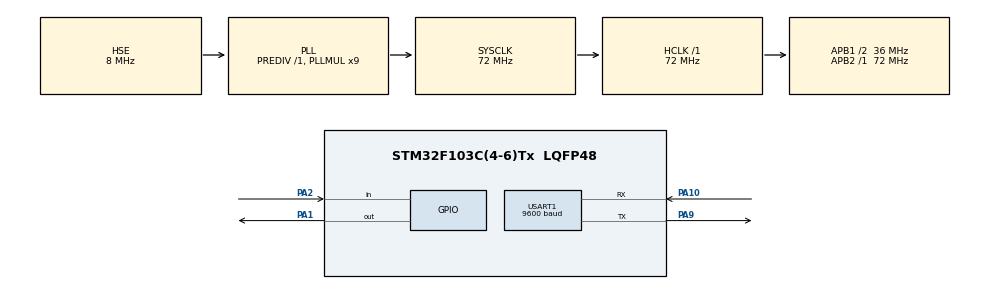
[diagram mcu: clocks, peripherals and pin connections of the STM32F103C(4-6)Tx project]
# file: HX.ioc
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Mcu.Family=STM32F1
Mcu.Name=STM32F103C(4-6)Tx
Mcu.Package=LQFP48
NVIC.PriorityGroup=NVIC_PRIORITYGROUP_4
PA1.Signal=GPIO_Output
PA10.Mode=Asynchronous
PA10.Signal=USART1_RX
PA2.Signal=GPIO_Input
PA9.Mode=Asynchronous
PA9.Signal=USART1_TX
PD0-OSC_IN.Mode=HSE-External-Oscillator
PD0-OSC_IN.Signal=RCC_OSC_IN
PD1-OSC_OUT.Mode=HSE-External-Oscillator
PD1-OSC_OUT.Signal=RCC_OSC_OUT
ProjectManager.HeapSize=0x200
ProjectManager.StackSize=0x400
ProjectManager.TargetToolchain=STM32CubeIDE
RCC.AHBFreq_Value=72000000
RCC.APB1CLKDivider=RCC_HCLK_DIV2
RCC.APB1Freq_Value=36000000
RCC.APB1TimFreq_Value=72000000
RCC.APB2Freq_Value=72000000
RCC.APB2TimFreq_Value=72000000
RCC.HCLKFreq_Value=72000000
RCC.PLLMUL=RCC_PLL_MUL9
RCC.PLLSourceVirtual=RCC_PLLSOURCE_HSE
RCC.SYSCLKFreq_VALUE=72000000
RCC.SYSCLKSource=RCC_SYSCLKSOURCE_PLLCLK
RCC.USBFreq_Value=72000000
USART1.BaudRate=9600
USART1.VirtualMode=VM_ASYNC
VP_SYS_VS_ND.Mode=No_Debug
VP_TIM1_VS_ClockSourceINT.Mode=Internal
board=custom

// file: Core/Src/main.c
/* USER CODE BEGIN Header */
/**
  ******************************************************************************
  * @file           : main.c
  * @brief          : Main program body
  ******************************************************************************
  * @attention
  *
  * Copyright (c) 2024 STMicroelectronics.
  * All rights reserved.
  *
  * This software is licensed under terms that can be found in the LICENSE file
  * in the root directory of this software component.
  * If no LICENSE file comes with this software, it is provided AS-IS.
  *
  ******************************************************************************
  */
/* USER CODE END Header */
#include "main.h"

/* USER CODE BEGIN Includes */
#include "hx711.h"
#include <stdio.h>
#include <string.h>

/* USER CODE END Includes */

TIM_HandleTypeDef htim1;

UART_HandleTypeDef huart1;

/* USER CODE BEGIN PV */
hx711_t loadcell;
float weight;
char MSG[50];
char MSG1[] = "HX711 scale demo \n\r";
char MSG2[] = "Reset scale to 0 assuming no weight at startup.\n\r";
/* USER CODE END PV */

void SystemClock_Config(void);
static void MX_GPIO_Init(void);
static void MX_TIM1_Init(void);
static void MX_USART1_UART_Init(void);

int main(void)
{

  /* MCU Configuration--------------------------------------------------------*/

  /* Reset of all peripherals, Initializes the Flash interface and the Systick. */
  HAL_Init();

  /* Configure the system clock */
  SystemClock_Config();

  /* Initialize all configured peripherals */
  MX_GPIO_Init();
  MX_TIM1_Init();
  MX_USART1_UART_Init();
  /* USER CODE BEGIN 2 */
  HAL_UART_Transmit(&huart1, (uint8_t*)MSG1, strlen(MSG1), 100);
  HAL_UART_Transmit(&huart1, (uint8_t*)MSG2, strlen(MSG2), 100);

  hx711_init(&loadcell, GPIOA, GPIO_PIN_1, GPIOA, GPIO_PIN_2);
  hx711_coef_set(&loadcell, 36057.14); // read afer calibration  36057.14
  hx711_tare(&loadcell, 10);
  /* USER CODE END 2 */

  /* Infinite loop */
  while (1)
  {

    /* USER CODE BEGIN 3 */

    HAL_Delay(500);
    weight = hx711_weight(&loadcell, 10);
    HAL_Delay(10);

    sprintf(MSG,"\n\rhx711_weight = %.2f Kg\n\r",weight);
    HAL_UART_Transmit(&huart1,(uint8_t*)MSG, strlen(MSG), 100);

  }
  /* USER CODE END 3 */
}

void SystemClock_Config(void)
{
  RCC_OscInitTypeDef RCC_OscInitStruct = {0};
  RCC_ClkInitTypeDef RCC_ClkInitStruct = {0};

  /** Initializes the RCC Oscillators according to the specified parameters
  * in the RCC_OscInitTypeDef structure.
  */
  RCC_OscInitStruct.OscillatorType = RCC_OSCILLATORTYPE_HSE;
  RCC_OscInitStruct.HSEState = RCC_HSE_ON;
  RCC_OscInitStruct.HSEPredivValue = RCC_HSE_PREDIV_DIV1;
  RCC_OscInitStruct.HSIState = RCC_HSI_ON;
  RCC_OscInitStruct.PLL.PLLState = RCC_PLL_ON;
  RCC_OscInitStruct.PLL.PLLSource = RCC_PLLSOURCE_HSE;
  RCC_OscInitStruct.PLL.PLLMUL = RCC_PLL_MUL9;
  if (HAL_RCC_OscConfig(&RCC_OscInitStruct) != HAL_OK)
  {
    Error_Handler();
  }

  /** Initializes the CPU, AHB and APB buses clocks
  */
  RCC_ClkInitStruct.ClockType = RCC_CLOCKTYPE_HCLK|RCC_CLOCKTYPE_SYSCLK
                              |RCC_CLOCKTYPE_PCLK1|RCC_CLOCKTYPE_PCLK2;
  RCC_ClkInitStruct.SYSCLKSource = RCC_SYSCLKSOURCE_PLLCLK;
  RCC_ClkInitStruct.AHBCLKDivider = RCC_SYSCLK_DIV1;
  RCC_ClkInitStruct.APB1CLKDivider = RCC_HCLK_DIV2;
  RCC_ClkInitStruct.APB2CLKDivider = RCC_HCLK_DIV1;

  if (HAL_RCC_ClockConfig(&RCC_ClkInitStruct, FLASH_LATENCY_2) != HAL_OK)
  {
    Error_Handler();
  }
}

static void MX_TIM1_Init(void)
{

  TIM_ClockConfigTypeDef sClockSourceConfig = {0};
  TIM_MasterConfigTypeDef sMasterConfig = {0};

  htim1.Instance = TIM1;
  htim1.Init.Prescaler = 0;
  htim1.Init.CounterMode = TIM_COUNTERMODE_UP;
  htim1.Init.Period = 65535;
  htim1.Init.ClockDivision = TIM_CLOCKDIVISION_DIV1;
  htim1.Init.RepetitionCounter = 0;
  htim1.Init.AutoReloadPreload = TIM_AUTORELOAD_PRELOAD_DISABLE;
  if (HAL_TIM_Base_Init(&htim1) != HAL_OK)
  {
    Error_Handler();
  }
  sClockSourceConfig.ClockSource = TIM_CLOCKSOURCE_INTERNAL;
  if (HAL_TIM_ConfigClockSource(&htim1, &sClockSourceConfig) != HAL_OK)
  {
    Error_Handler();
  }
  sMasterConfig.MasterOutputTrigger = TIM_TRGO_RESET;
  sMasterConfig.MasterSlaveMode = TIM_MASTERSLAVEMODE_DISABLE;
  if (HAL_TIMEx_MasterConfigSynchronization(&htim1, &sMasterConfig) != HAL_OK)
  {
    Error_Handler();
  }

}

static void MX_USART1_UART_Init(void)
{

  huart1.Instance = USART1;
  huart1.Init.BaudRate = 9600;
  huart1.Init.WordLength = UART_WORDLENGTH_8B;
  huart1.Init.StopBits = UART_STOPBITS_1;
  huart1.Init.Parity = UART_PARITY_NONE;
  huart1.Init.Mode = UART_MODE_TX_RX;
  huart1.Init.HwFlowCtl = UART_HWCONTROL_NONE;
  huart1.Init.OverSampling = UART_OVERSAMPLING_16;
  if (HAL_UART_Init(&huart1) != HAL_OK)
  {
    Error_Handler();
  }

}

static void MX_GPIO_Init(void)
{
  GPIO_InitTypeDef GPIO_InitStruct = {0};

  /* GPIO Ports Clock Enable */
  __HAL_RCC_GPIOD_CLK_ENABLE();
  __HAL_RCC_GPIOA_CLK_ENABLE();

  /*Configure GPIO pin Output Level */
  HAL_GPIO_WritePin(GPIOA, GPIO_PIN_1, GPIO_PIN_RESET);

  /*Configure GPIO pin : PA1 */
  GPIO_InitStruct.Pin = GPIO_PIN_1;
  GPIO_InitStruct.Mode = GPIO_MODE_OUTPUT_PP;
  GPIO_InitStruct.Pull = GPIO_NOPULL;
  GPIO_InitStruct.Speed = GPIO_SPEED_FREQ_LOW;
  HAL_GPIO_Init(GPIOA, &GPIO_InitStruct);

  /*Configure GPIO pin : PA2 */
  GPIO_InitStruct.Pin = GPIO_PIN_2;
  GPIO_InitStruct.Mode = GPIO_MODE_INPUT;
  GPIO_InitStruct.Pull = GPIO_NOPULL;
  HAL_GPIO_Init(GPIOA, &GPIO_InitStruct);

}

void Error_Handler(void)
{
  __disable_irq();
  while (1)
  {
  }
}
